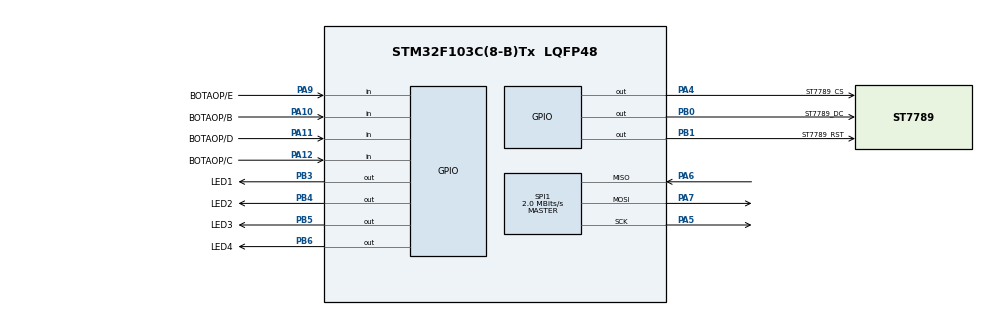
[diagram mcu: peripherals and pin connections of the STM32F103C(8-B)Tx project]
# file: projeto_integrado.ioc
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Mcu.Family=STM32F1
Mcu.Name=STM32F103C(8-B)Tx
Mcu.Package=LQFP48
NVIC.PriorityGroup=NVIC_PRIORITYGROUP_4
PA10.GPIO_Label=BOTAOP/B
PA10.GPIO_PuPd=GPIO_PULLUP
PA10.Signal=GPIO_Input
PA11.GPIO_Label=BOTAOP/D
PA11.GPIO_PuPd=GPIO_PULLUP
PA11.Signal=GPIO_Input
PA12.GPIO_Label=BOTAOP/C
PA12.GPIO_PuPd=GPIO_PULLUP
PA12.Signal=GPIO_Input
PA13.Mode=Serial_Wire
PA13.Signal=SYS_JTMS-SWDIO
PA14.Mode=Serial_Wire
PA14.Signal=SYS_JTCK-SWCLK
PA4.GPIO_Label=ST7789_CS
PA4.Signal=GPIO_Output
PA5.Mode=Full_Duplex_Master
PA5.Signal=SPI1_SCK
PA6.Mode=Full_Duplex_Master
PA6.Signal=SPI1_MISO
PA7.Mode=Full_Duplex_Master
PA7.Signal=SPI1_MOSI
PA9.GPIO_Label=BOTAOP/E
PA9.GPIO_PuPd=GPIO_PULLUP
PA9.Signal=GPIO_Input
PB0.GPIO_Label=ST7789_DC
PB0.Signal=GPIO_Output
PB1.GPIO_Label=ST7789_RST
PB1.Signal=GPIO_Output
PB3.GPIO_Label=LED1
PB3.Signal=GPIO_Output
PB4.GPIO_Label=LED2
PB4.Signal=GPIO_Output
PB5.GPIO_Label=LED3
PB5.Signal=GPIO_Output
PB6.GPIO_Label=LED4
PB6.Signal=GPIO_Output
ProjectManager.HeapSize=0x200
ProjectManager.StackSize=0x400
ProjectManager.TargetToolchain=STM32CubeIDE
RCC.APB1Freq_Value=8000000
RCC.APB2Freq_Value=8000000
SPI1.BaudRatePrescaler=SPI_BAUDRATEPRESCALER_4
SPI1.CLKPolarity=SPI_POLARITY_HIGH
SPI1.CalculateBaudRate=2.0 MBits/s
SPI1.Direction=SPI_DIRECTION_2LINES
SPI1.Mode=SPI_MODE_MASTER
SPI1.VirtualType=VM_MASTER
board=custom

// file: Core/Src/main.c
/* USER CODE BEGIN Header */
/**
  ******************************************************************************
  * @file           : main.c
  * @brief          : Main program body
  ******************************************************************************
  * @attention
  *
  * <h2><center>&copy; Copyright (c) 2024 STMicroelectronics.
  * All rights reserved.</center></h2>
  *
  * This software component is licensed by ST under BSD 3-Clause license,
  * the "License"; You may not use this file except in compliance with the
  * License. You may obtain a copy of the License at:
  *                        opensource.org/licenses/BSD-3-Clause
  *
  ******************************************************************************
  */
/* USER CODE END Header */
#include "main.h"

/* USER CODE BEGIN Includes */
#include "st7789\st7789.h"
#include <time.h>
#include <stdio.h>
//#include <stdlib.h>
/* USER CODE END Includes */

/* USER CODE BEGIN PD */

#define WHITE       0xFFFF
#define BLACK       0x0000
#define MAGENTA     0xF81F
#define GREEN       0x07E0
#define RED         0xF800
#define YELLOW      0xFFE0

#define BOTAO1 HAL_GPIO_ReadPin(GPIOA, GPIO_PIN_9)  //ESQUERDA
#define BOTAO2 HAL_GPIO_ReadPin(GPIOA, GPIO_PIN_10) //BAIXO
#define BOTAO3 HAL_GPIO_ReadPin(GPIOA, GPIO_PIN_11) //DIREITA
#define BOTAO4 HAL_GPIO_ReadPin(GPIOA, GPIO_PIN_12) //CIMA

#define LED3ON HAL_GPIO_WritePin(GPIOB, GPIO_PIN_3, 1) //LED3ON
#define LED4ON HAL_GPIO_WritePin(GPIOB, GPIO_PIN_4, 1) //LED4ON
#define LED5ON HAL_GPIO_WritePin(GPIOB, GPIO_PIN_5, 1) //LED5ON
#define LED6ON HAL_GPIO_WritePin(GPIOB, GPIO_PIN_6, 1) //LED6ON

#define LED3OFF HAL_GPIO_WritePin(GPIOB, GPIO_PIN_3, 0) //LED3OFF
#define LED4OFF HAL_GPIO_WritePin(GPIOB, GPIO_PIN_4, 0) //LED4OFF
#define LED5OFF HAL_GPIO_WritePin(GPIOB, GPIO_PIN_5, 0) //LED5OFF
#define LED6OFF HAL_GPIO_WritePin(GPIOB, GPIO_PIN_6, 0) //LED6OFF

/* USER CODE END PD */

SPI_HandleTypeDef hspi1;

/* USER CODE BEGIN PV */

//Variaveis iniciais da posição da cobra:
int Parte1CX = 60;
int Parte1CY = 120;
int Parte2X = 50;
int Parte2Y = 120;
int Parte3X = 40;
int Parte3Y = 120;
int Parte4X = 30;
int Parte4Y = 120;
int Parte5X = 20;
int Parte5Y = 120;
//Variaveis dinâmicas de posição:
int Parte1FX = 60;
int Parte1FY = 120;

int VelocidadeAndar;
int escolha = 1;
int escolha2 = 1;
int movimentar = 1;
int estado;

int interrompe;
int interrompe2;

int PararDeGerar;

int XFruta, YFruta;

int coletavel = 0;
int coletavel2 = 0;
int recorde = 0;
int direcao;
/* USER CODE END PV */

void SystemClock_Config(void);
static void MX_GPIO_Init(void);
static void MX_SPI1_Init(void);

//anthony
void Menu(void);
void Play (void);
void Playning (void);
void Velocidade (void);
void Parte1 (void);
void Parte2 (void);
void Parte3 (void);
void Parte4 (void);
void Parte5 (void);
void Apagar (void);

//nicole
void AtualizarPlacar (void);
void AtualizarRecorde (void);
void AlterarDirecaodeMovimento (void);

//fabiane
void GerarNovoColetavel (void);
void VerificarColisao (void);
void VerificarColeta (void);

int main(void)
{

  /* MCU Configuration--------------------------------------------------------*/

  /* Reset of all peripherals, Initializes the Flash interface and the Systick. */
  HAL_Init();

  /* Configure the system clock */
  SystemClock_Config();

  /* Initialize all configured peripherals */
  MX_GPIO_Init();
  MX_SPI1_Init();
  /* USER CODE BEGIN 2 */
  ST7789_Init();
  /* USER CODE END 2 */

  /* Infinite loop */
  /* USER CODE BEGIN WHILE */
  while (1)
  {
	  Menu ();
  }
   }

    /* USER CODE END WHILE */
    /* USER CODE BEGIN 3 */
  //}
  /* USER CODE END 3 */
// }

void SystemClock_Config(void)
{
  RCC_OscInitTypeDef RCC_OscInitStruct = {0};
  RCC_ClkInitTypeDef RCC_ClkInitStruct = {0};

  /** Initializes the RCC Oscillators according to the specified parameters
  * in the RCC_OscInitTypeDef structure.
  */
  RCC_OscInitStruct.OscillatorType = RCC_OSCILLATORTYPE_HSI;
  RCC_OscInitStruct.HSIState = RCC_HSI_ON;
  RCC_OscInitStruct.HSICalibrationValue = RCC_HSICALIBRATION_DEFAULT;
  RCC_OscInitStruct.PLL.PLLState = RCC_PLL_NONE;
  if (HAL_RCC_OscConfig(&RCC_OscInitStruct) != HAL_OK)
  {
    Error_Handler();
  }
  /** Initializes the CPU, AHB and APB buses clocks
  */
  RCC_ClkInitStruct.ClockType = RCC_CLOCKTYPE_HCLK|RCC_CLOCKTYPE_SYSCLK
                              |RCC_CLOCKTYPE_PCLK1|RCC_CLOCKTYPE_PCLK2;
  RCC_ClkInitStruct.SYSCLKSource = RCC_SYSCLKSOURCE_HSI;
  RCC_ClkInitStruct.AHBCLKDivider = RCC_SYSCLK_DIV1;
  RCC_ClkInitStruct.APB1CLKDivider = RCC_HCLK_DIV1;
  RCC_ClkInitStruct.APB2CLKDivider = RCC_HCLK_DIV1;

  if (HAL_RCC_ClockConfig(&RCC_ClkInitStruct, FLASH_LATENCY_0) != HAL_OK)
  {
    Error_Handler();
  }
}

static void MX_SPI1_Init(void)
{

  /* SPI1 parameter configuration*/
  hspi1.Instance = SPI1;
  hspi1.Init.Mode = SPI_MODE_MASTER;
  hspi1.Init.Direction = SPI_DIRECTION_2LINES;
  hspi1.Init.DataSize = SPI_DATASIZE_8BIT;
  hspi1.Init.CLKPolarity = SPI_POLARITY_HIGH;
  hspi1.Init.CLKPhase = SPI_PHASE_1EDGE;
  hspi1.Init.NSS = SPI_NSS_SOFT;
  hspi1.Init.BaudRatePrescaler = SPI_BAUDRATEPRESCALER_4;
  hspi1.Init.FirstBit = SPI_FIRSTBIT_MSB;
  hspi1.Init.TIMode = SPI_TIMODE_DISABLE;
  hspi1.Init.CRCCalculation = SPI_CRCCALCULATION_DISABLE;
  hspi1.Init.CRCPolynomial = 10;
  if (HAL_SPI_Init(&hspi1) != HAL_OK)
  {
    Error_Handler();
  }

}

static void MX_GPIO_Init(void)
{
  GPIO_InitTypeDef GPIO_InitStruct = {0};

  /* GPIO Ports Clock Enable */
  __HAL_RCC_GPIOA_CLK_ENABLE();
  __HAL_RCC_GPIOB_CLK_ENABLE();

  /*Configure GPIO pin Output Level */
  HAL_GPIO_WritePin(ST7789_CS_GPIO_Port, ST7789_CS_Pin, GPIO_PIN_RESET);

  /*Configure GPIO pin Output Level */
  HAL_GPIO_WritePin(GPIOB, ST7789_DC_Pin|ST7789_RST_Pin|LED1_Pin|LED2_Pin
                          |LED3_Pin|LED4_Pin, GPIO_PIN_RESET);

  /*Configure GPIO pin : ST7789_CS_Pin */
  GPIO_InitStruct.Pin = ST7789_CS_Pin;
  GPIO_InitStruct.Mode = GPIO_MODE_OUTPUT_PP;
  GPIO_InitStruct.Pull = GPIO_NOPULL;
  GPIO_InitStruct.Speed = GPIO_SPEED_FREQ_LOW;
  HAL_GPIO_Init(ST7789_CS_GPIO_Port, &GPIO_InitStruct);

  /*Configure GPIO pins : ST7789_DC_Pin ST7789_RST_Pin LED1_Pin LED2_Pin
                           LED3_Pin LED4_Pin */
  GPIO_InitStruct.Pin = ST7789_DC_Pin|ST7789_RST_Pin|LED1_Pin|LED2_Pin
                          |LED3_Pin|LED4_Pin;
  GPIO_InitStruct.Mode = GPIO_MODE_OUTPUT_PP;
  GPIO_InitStruct.Pull = GPIO_NOPULL;
  GPIO_InitStruct.Speed = GPIO_SPEED_FREQ_LOW;
  HAL_GPIO_Init(GPIOB, &GPIO_InitStruct);

  /*Configure GPIO pins : BOTAOP_E_Pin BOTAOP_B_Pin BOTAOP_D_Pin BOTAOP_C_Pin */
  GPIO_InitStruct.Pin = BOTAOP_E_Pin|BOTAOP_B_Pin|BOTAOP_D_Pin|BOTAOP_C_Pin;
  GPIO_InitStruct.Mode = GPIO_MODE_INPUT;
  GPIO_InitStruct.Pull = GPIO_PULLUP;
  HAL_GPIO_Init(GPIOA, &GPIO_InitStruct);

}

/* USER CODE BEGIN 4 */
void Menu (void){

    ST7789_Fill_Color(BLACK);
    ST7789_WriteString(40, 40, "SNAKE.IO", Font_16x26, WHITE, MAGENTA);
    ST7789_WriteString(40, 100, "PLAY = PA11",Font_11x18, WHITE, MAGENTA);
    ST7789_WriteString(40, 120, "VELOCIDADE = PA12", Font_11x18, WHITE, MAGENTA);
    ST7789_WriteString(40, 140, "RECORDE = ", Font_11x18, WHITE, MAGENTA);
    ST7789_WriteChar(150, 140, recorde + '0', Font_11x18, WHITE, MAGENTA);

  while(escolha){

   if (BOTAO1 == 1 && BOTAO2 == 1 && BOTAO3 == 0 && BOTAO4 == 1) {
   Play();
   escolha = 0;
   }
   else if (BOTAO1 == 1 && BOTAO2 == 1 && BOTAO3 == 1 && BOTAO4 == 0) {
  Velocidade();
  escolha = 0;
     }
   }
}

void Play (void){

   ST7789_Fill_Color(BLACK);
   ST7789_DrawLine(10, 10, 230, 10, WHITE);
   ST7789_DrawLine(230, 10, 230, 190, WHITE);	//tamanho do campo de jogo
   ST7789_DrawLine(230, 190, 10, 190, WHITE);
   ST7789_DrawLine(10, 190, 10, 10, WHITE);

	 Parte1CX = 60;
	 Parte1CY = 120;
	 Parte1FX = 60;
	 Parte1FY = 120;
	 Parte2X = 50;
	 Parte2Y = 120;
	 Parte3X = 40;
	 Parte3Y = 120;
	 Parte4X = 30;
	 Parte4Y = 120;
	 Parte5X = 20;
	 Parte5Y = 120;

coletavel = 0;
ST7789_WriteString(10,200, "Pontos:", Font_16x26, BLACK, GREEN);
ST7789_WriteChar(130,200, coletavel + '0', Font_16x26, BLACK, GREEN);

	Parte1();
	Parte2();
	Parte3();
	Parte4();
	Parte5();
	Playning();
}

int direction = 0;

void Playning(void){

	//Define direction para 0:
	direction = 0;

	//Gera a primeira maçã:
	PararDeGerar = 1;
	GerarNovoColetavel();

	while(movimentar){

		//Define a direção baseado no valor dos botões:
	   if(BOTAO1 == 0 && BOTAO2 == 1 && BOTAO3 == 1 && BOTAO4 == 1){

		   direction = 1; //Esquerda
	   }
	   else if(BOTAO1 == 1 && BOTAO2 == 0 && BOTAO3 == 1 && BOTAO4 == 1){

		   direction = 2; //baixo
	   }
	   else if(BOTAO1 == 1 && BOTAO2 == 1 && BOTAO3 == 0 && BOTAO4 == 1){

		   direction = 3; //direita
	   }
	   else if(BOTAO1 == 1 && BOTAO2 == 1 && BOTAO3 == 1 && BOTAO4 == 0 ){

		   direction = 4; //cima
	   }

	   //Veirifica a rireção que precisa mover:
	   if(direction != 0){

		   if(direction == 1){
			   //Código para mover para esquerda
			   Parte1FX = Parte1CX - 10;

			   Apagar();
			   Parte5X = Parte4X;
			   Parte5Y = Parte4Y;
			   Parte5();
			   Parte4X = Parte3X;
			   Parte4Y = Parte3Y;
			   Parte4();
			   Parte3X = Parte2X;
			   Parte3Y = Parte2Y;
			   Parte3();
			   Parte2X = Parte1CX;
			   Parte2Y = Parte1CY;
			   Parte2();
			   Parte1CX = Parte1FX;
			   Parte1CY = Parte1FY;
			   Parte1();
			   VerificarColeta();
			   VerificarColisao ();

		   }
		   else if(direction == 2){
			   //Código para mover para baixo

			   Parte1FY = Parte1CY + 10;

			   Apagar();
			   Parte5X = Parte4X;
			   Parte5Y = Parte4Y;
			   Parte5();
			   Parte4X = Parte3X;
			   Parte4Y = Parte3Y;
			   Parte4();
			   Parte3X = Parte2X;
			   Parte3Y = Parte2Y;
			   Parte3();
			   Parte2X = Parte1CX;
			   Parte2Y = Parte1CY;
			   Parte2();
			   Parte1CX = Parte1FX;
			   Parte1CY = Parte1FY;
			   Parte1();
			   VerificarColeta();
			   VerificarColisao ();
		   }
		   else if(direction == 3){
			   //Código para mover para direita

			   Parte1FX = Parte1CX + 10;

			   Apagar();
			   Parte5X = Parte4X;
			   Parte5Y = Parte4Y;
			   Parte5();
			   Parte4X = Parte3X;
			   Parte4Y = Parte3Y;
			   Parte4();
			   Parte3X = Parte2X;
			   Parte3Y = Parte2Y;
			   Parte3();
			   Parte2X = Parte1CX;
			   Parte2Y = Parte1CY;
			   Parte2();
			   Parte1CX = Parte1FX;
			   Parte1CY = Parte1FY;
			   Parte1();
			   VerificarColeta();
			   VerificarColisao ();
		   }
		   else if(direction == 4){
			   //Código para mover para cima

			   Parte1FY = Parte1CY - 10;

			   Apagar();
			   Parte5X = Parte4X;
			   Parte5Y = Parte4Y;
			   Parte5();
			   Parte4X = Parte3X;
			   Parte4Y = Parte3Y;
			   Parte4();
			   Parte3X = Parte2X;
			   Parte3Y = Parte2Y;
			   Parte3();
			   Parte2X = Parte1CX;
			   Parte2Y = Parte1CY;
			   Parte2();
			   Parte1CX = Parte1FX;
			   Parte1CY = Parte1FY;
			   Parte1();
			   VerificarColeta();
			   VerificarColisao ();
		   }

	   }
   }
 }

void Velocidade (void){
	     ST7789_Fill_Color(BLACK);
	     ST7789_WriteString(45, 30, "VELOCIDADES", Font_16x26, WHITE, BLACK);
	     ST7789_WriteString(50, 100, "normal = PA9",Font_11x18, WHITE, BLACK);
	     ST7789_WriteString(50, 140, "media = PA10", Font_11x18, WHITE, BLACK);
	     ST7789_WriteString(50, 180, "rapida = PA11", Font_11x18, WHITE, BLACK);
         while (escolha2){

	       if (BOTAO1 == 0 && BOTAO2 == 1 && BOTAO3 == 1 && BOTAO4 == 1) {
	     ST7789_Fill_Color(GREEN);
	     ST7789_WriteString(30, 120, "VELOCIDADE 1",Font_16x26, WHITE, GREEN);
	     escolha2 = 0;
	     VelocidadeAndar = 0;
	     Play ();
	               }
	              else if (BOTAO1 == 1 && BOTAO2 == 0 && BOTAO3 == 1 && BOTAO4 == 1) {
	     ST7789_Fill_Color(YELLOW);
	     ST7789_WriteString(30, 120, "VELOCIDADE 2",Font_16x26, BLACK, YELLOW);
	     escolha2 = 0;
	     VelocidadeAndar = 5;
	     Play ();

	               }
	     else if (BOTAO1 == 1 && BOTAO2 == 1 && BOTAO3 == 0 && BOTAO4 == 1) {
	     ST7789_Fill_Color(RED);
	     ST7789_WriteString(30, 120, "VELOCIDADE 3",Font_16x26, WHITE, RED);
	     escolha2 = 0;
	     VelocidadeAndar = 10;
	     Play ();
	     }
       }
     }
void Apagar(void){
	   ST7789_DrawFilledCircle(Parte5X,Parte5Y, 5, BLACK);
	      //HAL_Delay(VelocidadeAndar);
	   }
void Parte1 (void){
	   ST7789_DrawFilledCircle(Parte1CX,Parte1CY, 5, GREEN);
	   HAL_Delay(VelocidadeAndar);
	   }
void Parte2 (void){
	   ST7789_DrawFilledCircle(Parte2X,Parte2Y, 5, GREEN);
	   HAL_Delay(VelocidadeAndar);
	   }
void Parte3 (void){
	   ST7789_DrawFilledCircle(Parte3X,Parte3Y, 5, GREEN);
	   HAL_Delay(VelocidadeAndar);
	   }
void Parte4 (void){
	   ST7789_DrawFilledCircle(Parte4X,Parte4Y, 5, GREEN);
	   HAL_Delay(VelocidadeAndar);
	   }
void Parte5 (void){
	     ST7789_DrawFilledCircle(Parte5X,Parte5Y, 5, GREEN);
	     HAL_Delay(VelocidadeAndar);
	     }

void GerarNovoColetavel (void) //(melhorar a geração de maçãs)
{
    while(PararDeGerar){

       //srand(time(NULL));

      XFruta = rand() % 22 * 10 + 10; // Valores aleatórios entre 0 e 220 de 10 em 10
      YFruta = rand() % 18 * 10 + 10; // Valores aleatórios entre 0 e 180

    if(XFruta != Parte1FX || YFruta != Parte1FY){
		ST7789_DrawFilledCircle(XFruta, YFruta, 5, RED);
		PararDeGerar = 0;
    }
  }
}

void VerificarColeta(void)
{
    if(XFruta == Parte1FX && YFruta == Parte1FY){
    ST7789_DrawFilledCircle(XFruta, YFruta, 5, BLACK);
    PararDeGerar = 1;
    GerarNovoColetavel();
    AtualizarPlacar();
    }
}

void VerificarColisao (void){

	if(Parte1FX <= 10 || Parte1FX > 230 || Parte1FY <= 10 || Parte1FY > 190){
	LED3ON; //LED3ON
	LED4ON;  //LED4ON
	LED5ON; //LED5ON
	LED6ON; //LED6ON
	HAL_Delay(2000);
	LED3OFF; //LED3OFF
	LED4OFF ;//LED4OFF
	LED5OFF  ;//LED5OFF
	LED6OFF ; //LED6OFF
	escolha = 1;
	AtualizarRecorde ();
	Menu();

}

if(Parte1FX == Parte5X && Parte1FY == Parte5Y){
LED3ON;
LED4ON;
LED5ON;
LED6ON;
HAL_Delay(2000);
LED3OFF;
LED4OFF;
LED5OFF;
LED6OFF;
escolha = 1;
AtualizarRecorde ();
Menu();

}
}

void AtualizarPlacar (void){
    coletavel ++;
    //ST7789_WriteString(10,200, "Pontos:", Font_16x26, BLACK, GREEN);
    ST7789_WriteChar(130,200, coletavel + '0', Font_16x26, BLACK, GREEN);

 /*   if(coletavel > 9){
    coletavel = 0;
    coletavel2 ++;
    ST7789_WriteChar(125,200, coletavel2 + '0', Font_16x26, BLACK, GREEN);

    }*/

}

void AtualizarRecorde (void){
	if (coletavel > recorde){
	recorde = coletavel;
	//ST7789_WriteString(10,199,recorde, Font_16x26, WHITE, BLACK);
	}
}

/* USER CODE END 4 */

void Error_Handler(void)
{
  __disable_irq();
  while (1)
  {
  }
}

/************************ (C) COPYRIGHT STMicroelectronics *****END OF FILE****/
